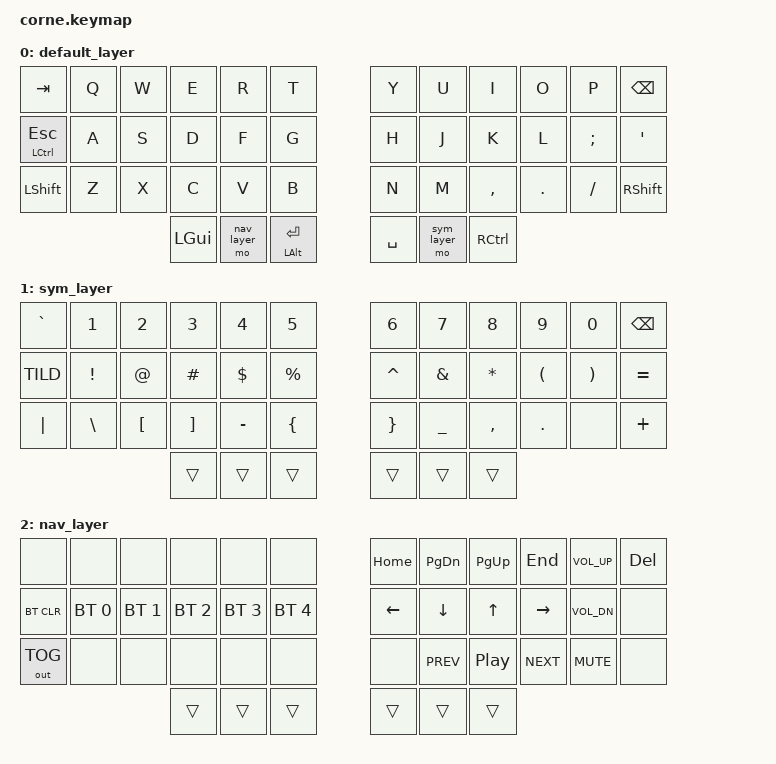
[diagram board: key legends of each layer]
/*
 * Copyright (c) 2020 The ZMK Contributors
 *
 * SPDX-License-Identifier: MIT
 */

#include <behaviors.dtsi>
#include <dt-bindings/zmk/keys.h>
#include <dt-bindings/zmk/bt.h>
#include <dt-bindings/zmk/outputs.h>

#define sym_layer 1
#define nav_layer 2

/ {
        keymap {
                compatible = "zmk,keymap";

                default_layer {
// -----------------------------------------------------------------------------------------
// | TAB   |  Q  |  W  |  E  |  R  |  T  |   |  Y  |  U  |  I  |  O  |  P  | Bksp|
// |ESC/CTL|  A  |  S  |  D  |  F  |  G  |   |  H  |  J  |  K  |  L  |  ;  |  '  |
// | SHFT  |  Z  |  X  |  C  |  V  |  B  |   |  N  |  M  |  ,  |  .  |  /  | SHFT|
//                   | GUI | NAV |ENT/ALT|   | SPC | SYM |RCRTL|
                        bindings = <
   &kp TAB       &kp Q &kp W &kp E &kp R &kp T   &kp Y &kp U  &kp I     &kp O   &kp P    &kp BSPC
   &mt LCTRL ESC &kp A &kp S &kp D &kp F &kp G   &kp H &kp J  &kp K     &kp L   &kp SEMI &kp SQT
   &kp LSHFT     &kp Z &kp X &kp C &kp V &kp B   &kp N &kp M  &kp COMMA &kp DOT &kp FSLH &kp RSHFT
           &kp LGUI &mo nav_layer &mt LALT RET   &kp SPACE &mo sym_layer &kp RCTRL
                        >;
                };
                sym_layer {
// -----------------------------------------------------------------------------------------
// |  `  |  1  |  2  |  3  |  4  |  5  |   |  6  |  7  |  8  |  9  |  0  | Bksp|
// |  ~  |  !  |  @  |  #  |  $  |  %  |   |  ^  |  &  |  *  |  (  |  )  |  =  |
// |  |  |  \  |  [  |  ]  |  -  |  {  |   |  }  |  _  |  ,  |  .  |     |  +  |
//                   |     |     |     |   |     |     |     |
                        bindings = <
   &kp GRAVE &kp N1   &kp N2   &kp N3   &kp N4    &kp N5    &kp N6    &kp N7    &kp N8    &kp N9   &kp N0    &kp BSPC
   &kp TILD  &kp EXCL &kp AT   &kp HASH &kp DLLR  &kp PRCNT &kp CARET &kp AMPS  &kp STAR  &kp LPAR &kp RPAR  &kp EQUAL
   &kp PIPE  &kp BSLH &kp LBKT &kp RBKT &kp MINUS &kp LBRC  &kp RBRC  &kp UNDER &kp COMMA &kp DOT  &none &kp PLUS
                                &trans  &trans    &trans    &trans    &trans    &trans
                        >;
                };

                nav_layer {
// -----------------------------------------------------------------------------------------
// |     |     |     |     |     |     |   | Home| PgDn| PgUp| End |VolUp| Del |
// |BTCLR| BT1 | BT2 | BT3 | BT4 | BT5 |   |  ←  |  ↓  |  ↑  |  →  |VolDn|     |
// |BTTGL|     |     |     |     |     |   |     |MPrev|PlayP|Mnext|VolMu|     |
//                   |     |     |     |   |     |     |     |
                        bindings = <
   &none        &none        &none        &none        &none        &none        &kp HOME &kp PG_DN   &kp PG_UP &kp END    &kp C_VOL_UP &kp DEL
   &bt BT_CLR   &bt BT_SEL 0 &bt BT_SEL 1 &bt BT_SEL 2 &bt BT_SEL 3 &bt BT_SEL 4 &kp LEFT &kp DOWN    &kp UP    &kp RIGHT  &kp C_VOL_DN &none
   &out OUT_TOG &none        &none        &none        &none        &none        &none    &kp C_PREV  &kp C_PP  &kp C_NEXT &kp C_MUTE &none
                                        &trans       &trans       &trans       &trans   &trans      &trans 
                        >;
                };
        };
};
// TODO: I should find a way to mix in Function keys.  That or officially ditch them forever.

//                 sym_layer {
// // -----------------------------------------------------------------------------------------
// // |  TAB |  1  |  2  |  3  |  4  |  5  |   |  6  |  7  |  8  |  9  |  0  | Bksp |
// // | BTCLR| BT1 | BT2 | BT3 | BT4 | BT5 |   | LFT | DWN |  UP | RGT |     |      |
// // | SHFT |     |     |     |     |     |   |     |     |     |     |     |      |
// //                    | GUI |     | SPC |   | ENT |     | ALT |
//                         bindings = <
//    &kp TAB    &kp N1       &kp N2       &kp N3       &kp N4       &kp N5         &kp N6   &kp N7   &kp N8 &kp N9    &kp N0 &kp BSPC
//    &bt BT_CLR &bt BT_SEL 0 &bt BT_SEL 1 &bt BT_SEL 2 &bt BT_SEL 3 &bt BT_SEL 4   &kp LEFT &kp DOWN &kp UP &kp RIGHT &trans &trans
//    &kp LSHFT  &trans       &trans       &trans       &trans       &trans         &trans   &trans   &trans &trans    &trans &trans
//                           	        &kp LGUI    &trans    &kp RET               &kp SPACE    &trans    &kp RALT
//                         >;
//                 };

//                 nav_layer {
// // -----------------------------------------------------------------------------------------
// // |  TAB |  !  |  @  |  #  |  $  |  %  |   |  ^  |  &  |  *  |  (  |  )  | Bksp |
// // | CTRL |     |     |     |     |     |   |  -  |  =  |  [  |  ]  |  \  |  `   |
// // | SHFT |     |     |     |     |     |   |  _  |  +  |  {  |  }  | "|" |  ~   |
// //                    | GUI |     | SPC |   | ENT |     | ALT |
//                         bindings = <
//    &kp  TAB  &kp EXCL &kp AT &kp HASH &kp DLLR &kp PRCNT   &kp CARET &kp AMPS  &kp KP_MULTIPLY &kp LPAR &kp RPAR &kp BSPC
//    &kp LCTRL &trans   &trans &trans   &trans   &trans      &kp MINUS &kp EQUAL &kp LBKT        &kp RBKT &kp BSLH &kp GRAVE
//    &kp LSHFT &trans   &trans &trans   &trans   &trans      &kp UNDER &kp PLUS  &kp LBRC        &kp RBRC &kp PIPE &kp TILDE
//                     	     &kp LGUI &trans   &kp SPACE   &kp RET   &trans    &kp RALT
//                         >;
//                 };
